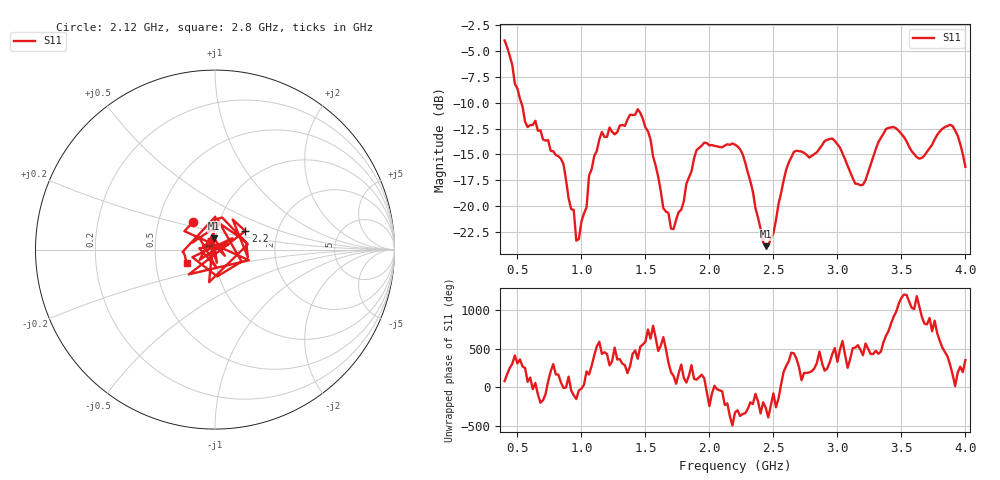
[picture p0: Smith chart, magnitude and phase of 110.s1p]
!Created with skrf (http://scikit-rf.org).
# Hz S RI R 50.0
!freq ReS11 ImS11
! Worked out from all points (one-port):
!   181 points, 400 MHz to 4 GHz, reference 50 ohm
!   lowest |S11| = -23.9 dB at 2.44 GHz (marker M1), VSWR 1.14, Z = 49.2 + j6.33 ohm
!   |S11| at or under -10 dB: 530 MHz to end of sweep
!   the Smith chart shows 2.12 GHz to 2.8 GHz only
!   S11 on the Smith chart (normalised r, x): 2.12 GHz: 0.75, +0.24; 2.2 GHz: 1.37, +0.30; 2.8 GHz: 0.72, -0.11
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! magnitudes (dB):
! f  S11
! 400 MHz  -4.0
! 560 MHz  -11.9
! 860 MHz  -15.9
! 940 MHz  -20.4
! 960 MHz  -23.3
! 980 MHz  -23.2
! 1.04 GHz  -20.1
! 1.06 GHz  -17.0
! 1.16 GHz  -12.8
! 1.3 GHz  -12.2
! 1.46 GHz  -11.0
! 1.7 GHz  -22.1
! 1.76 GHz  -20.6
! 1.9 GHz  -14.6
! 2.12 GHz  -14.1
! 2.2 GHz  -14.1
! 2.28 GHz  -15.8
! 2.44 GHz  -23.9
! 2.66 GHz  -14.8
! 2.8 GHz  -15.1
! 2.96 GHz  -13.5
! 3.1 GHz  -16.7
! 3.2 GHz  -17.9
! 3.38 GHz  -12.5
! 3.56 GHz  -14.2
! 3.66 GHz  -15.3
! 3.88 GHz  -12.1
! 4 GHz  -16.2
